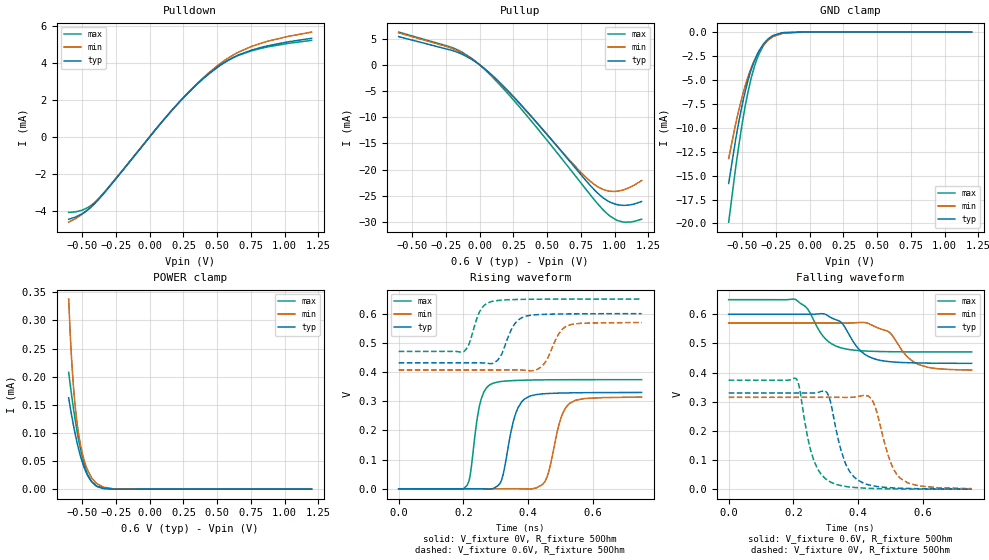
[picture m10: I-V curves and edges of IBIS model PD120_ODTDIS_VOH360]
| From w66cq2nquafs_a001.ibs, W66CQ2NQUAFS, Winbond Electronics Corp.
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[Model]   PD120_ODTDIS_VOH360
Model_type   I/O
Polarity   Non-Inverting
Enable   Active-Low
Vinl = 0.11
Vinh = 0.25
Vmeas = 0.18
Vref = 0
Cref = 0pF
|   typ   min   max
C_comp   0.85pF   0.80pF   0.90pF
[Voltage Range]   0.6   0.57   0.65
[Temperature Range]   25   125   -40
[Pullup Reference]   0.6   0.57   0.65
[Pulldown Reference]   0   0   0
[Power Clamp Reference]   0.6   0.57   0.65
[GND Clamp Reference]   0   0   0
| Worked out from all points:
|   slope of the pulldown table from 0 to 0.09 V, typ, clamps not added: 112 ohm
|   slope of the pullup table from 0 to 0.09 V, typ, clamps not added: 46.4 ohm
|   GND clamp passes 1 mA (typ) near -0.33 V on its own axis
|   falling waveform, V_fixture 0.6V, R_fixture 50Ohm: 20-80 % time 64.9ps typ, 69.8ps min, 61.4ps max; typ from 0.6 V to 0.432 V
|   rising waveform, V_fixture 0V, R_fixture 50Ohm: 20-80 % time 37.4ps typ, 39.7ps min, 28.4ps max; typ from 0 V to 0.33 V
|   rising waveform, V_fixture 0.6V, R_fixture 50Ohm: 20-80 % time 39.6ps typ, 42.3ps min, 33.1ps max; typ from 0.431 V to 0.6 V
|   falling waveform, V_fixture 0V, R_fixture 50Ohm: 20-80 % time 49.4ps typ, 51.1ps min, 47ps max; typ from 0.33 V to 0 V
[Pulldown]
|   Voltage   I(typ)   I(min)   I(max)
-600mV    -4.454mA   -4.612mA   -4.083mA
-499.8mV  -4.155mA   -4.18mA    -3.964mA
-456.3mV  -3.936mA   -3.925mA   -3.813mA
-400.5mV  -3.56mA    -3.533mA   -3.496mA
-307.6mV  -2.781mA   -2.762mA   -2.753mA
167.2mV   1.457mA    1.454mA    1.454mA
356.2mV   2.887mA    2.91mA     2.877mA
508.1mV   3.803mA    3.879mA    3.787mA
624.4mV   4.312mA    4.447mA    4.291mA
757.2mV   4.692mA    4.893mA    4.653mA
1.012V    5.116mA    5.406mA    5.035mA
1.2V      5.325mA    5.662mA    5.215mA
[GND Clamp]
|   Voltage   I(typ)   I(min)   I(max)
-600mV    -15.82mA   -13.22mA   -19.87mA
-546.1mV  -11.05mA   -9.457mA   -13.94mA
-499.3mV  -7.573mA   -6.698mA   -9.508mA
-475.2mV  -6.075mA   -5.498mA   -7.564mA
-434.9mV  -4.017mA   -3.81mA    -4.898mA
-411.5mV  -3.089mA   -3.016mA   -3.693mA
-372.6mV  -1.904mA   -1.948mA   -2.211mA
-316.6mV  -837uA     -960.8uA   -913.3uA
-279.6mV  -427.2uA   -557.9uA   -466.4uA
-198.3mV  -71.72uA   -133.1uA   -59.91uA
-59.4mV   -1.33uA    -6.782uA   -416.9nA
1.2V      0A         0A         0A
[Pullup]
|   Voltage   I(typ)   I(min)   I(max)
-600mV    5.379mA    6.114mA    6.249mA
-198.7mV  2.696mA    3.077mA    3.245mA
-130mV    2.03mA     2.237mA    2.417mA
-3.3mV    62.91uA    63.99uA    74.27uA
119.3mV   -2.64mA    -2.723mA   -2.989mA
294.4mV   -7.285mA   -7.401mA   -8.028mA
755.5mV   -21.14mA   -20.69mA   -22.73mA
871.6mV   -24.44mA   -23.24mA   -26.46mA
957.6mV   -26.12mA   -24.12mA   -28.72mA
1.027V    -26.75mA   -24.12mA   -29.78mA
1.118V    -26.74mA   -23.35mA   -30.03mA
1.2V      -26.11mA   -22.11mA   -29.49mA
[POWER Clamp]
|   Voltage   I(typ)   I(min)   I(max)
-600mV    162.4uA    337.9uA    207.7uA
-589.2mV  146.5uA    278.7uA    187uA
-577.8mV  130.7uA    228.3uA    166.2uA
-565.8mV  115.1uA    186.1uA    145.6uA
-551mV    97.2uA     145.4uA    121.9uA
-527.6mV  72.44uA    99.66uA    88.78uA
-499.9mV  48.58uA    64.25uA    57.13uA
-467.2mV  28.08uA    37.95uA    31.22uA
-434.9mV  15.04uA    22.29uA    15.08uA
-401.1mV  7.087uA    11.83uA    6.595uA
-269.4mV  144.9nA    669.6nA    28.13nA
1.2V      0A         0A         0A
[Ramp]
R_load = 50
|   typ   min   max
dV/dt_r 1.9798E-01/3.7404E-11   1.8851E-01/3.9680E-11   2.2434E-01/2.8443E-11
dV/dt_f 1.0107E-01/6.4761E-11   9.6930E-02/6.9808E-11   1.0760E-01/6.1259E-11
[Falling Waveform]
V_fixture = 0.6V
V_fixture_min = 0.57V
V_fixture_max = 0.65V
R_fixture = 50Ohm
C_fixture = 0F
|   Time   V(typ)   V(min)   V(max)
0s        600mV      570mV      650mV
206ps     600mV      570mV      650.8mV
243ps     600mV      570mV      619.6mV
296ps     600.9mV    570mV      519mV
347ps     572.7mV    570mV      484.7mV
425ps     459.4mV    570.6mV    473.8mV
494ps     437.7mV    539.8mV    471.6mV
547ps     434mV      459.5mV    471mV
586ps     432.8mV    427.9mV    470.9mV
750ps     431.6mV    408.4mV    470.7mV
[Rising Waveform]
V_fixture = 0V
V_fixture_min = 0V
V_fixture_max = 0V
R_fixture = 50Ohm
C_fixture = 0F
|   Time   V(typ)   V(min)   V(max)
0s        7.087uV    57.39uV    1.39uV
209ps     6.388uV    57.4uV     9.122mV
254ps     16.12uV    57.46uV    304.5mV
291ps     592.8uV    56.35uV    361.6mV
317ps     27.87mV    58.58uV    367.6mV
358ps     246.8mV    93.96uV    370.9mV
389ps     307.9mV    -462uV     372.1mV
452ps     325.7mV    25.38mV    373.3mV
528ps     328.6mV    292.7mV    373.7mV
750ps     330mV      314.2mV    373.9mV
[Rising Waveform]
V_fixture = 0.6V
V_fixture_min = 0.57V
V_fixture_max = 0.65V
R_fixture = 50Ohm
C_fixture = 0F
|   Time   V(typ)   V(min)   V(max)
0s        431.4mV    407mV      470.7mV
200ps     431.4mV    407mV      469.1mV
254ps     431.5mV    407mV      614.8mV
291ps     429.6mV    407mV      642.6mV
317ps     458.7mV    407mV      646.3mV
358ps     564.6mV    407.1mV    648.4mV
388ps     589.7mV    406.1mV    649mV
446ps     597.5mV    424.1mV    649.7mV
521ps     599.2mV    558.7mV    649.9mV
750ps     600mV      569.6mV    650mV
[Falling Waveform]
|Gnd
V_fixture = 0V
V_fixture_min = 0V
V_fixture_max = 0V
R_fixture = 50Ohm
C_fixture = 0F
|   Time   V(typ)   V(min)   V(max)
0s        330mV      315mV      373.9mV
208ps     330mV      315mV      379.4mV
263ps     329.8mV    315mV      98.18mV
300ps     335.4mV    315mV      34.75mV
320ps     270.2mV    315mV      21.44mV
358ps     95.32mV    314.8mV    9.973mV
398ps     31.6mV     317.6mV    4.989mV
446ps     11.32mV    299.2mV    2.331mV
531ps     3.184mV    36.39mV    617.8uV
750ps     204.2uV    1.827mV    -12.8uV
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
